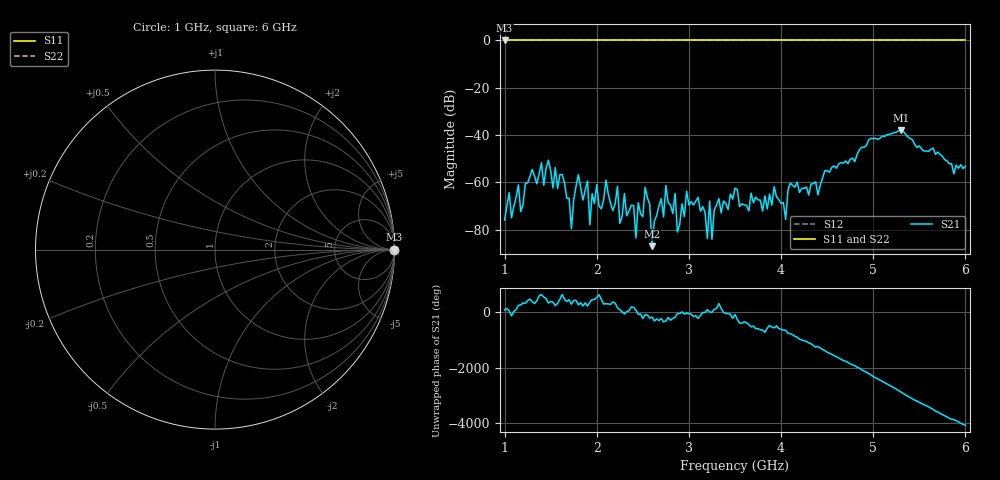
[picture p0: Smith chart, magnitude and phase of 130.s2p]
!Keysight Technologies N9926A: A.08.19
!Date: Sunday, 01 March 2026 13:41:56
!Timezone: (GMT-06:00) Central Time (US & Canada)
!Model: N9926A
!Serial: MY53102721
!GPS Latitude:
!GPS Longitude:
!GPS TimeStamp: 0001-01-01 00:00:00Z
!GPS Seconds Since Last Read: 0
!CHECKSUM:0867895835
!Correction: S11()S21(ON U)S12()S22()
!S2P File: Measurements:S11,S21,S12,S22:
# Hz S DB R 50
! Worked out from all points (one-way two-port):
!   201 points, 1 GHz to 6 GHz, reference 50 ohm
!   highest |S21| = -38.00 dB at 5.3 GHz (marker M1); lowest = -87.0 dB at 2.6 GHz (marker M2)
!   lowest |S11| = 0.0 dB at 1 GHz (marker M3)
!   |S11| at or under -10 dB: nowhere
!   |S22| runs from 0.0 to 0.0 dB; largest |S21 - S12| = 1
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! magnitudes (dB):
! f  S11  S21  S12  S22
! 1 GHz  0.0  -75.9  0.0  0.0
! 1.475 GHz  0.0  -50.6  0.0  0.0
! 1.725 GHz  0.0  -79.6  0.0  0.0
! 1.8 GHz  0.0  -56.7  0.0  0.0
! 1.85 GHz  0.0  -67.5  0.0  0.0
! 2.225 GHz  0.0  -61.7  0.0  0.0
! 2.25 GHz  0.0  -77.3  0.0  0.0
! 2.3 GHz  0.0  -64.7  0.0  0.0
! 2.425 GHz  0.0  -83.6  0.0  0.0
! 2.525 GHz  0.0  -62.1  0.0  0.0
! 2.6 GHz  0.0  -87.0  0.0  0.0
! 2.675 GHz  0.0  -70.0  0.0  0.0
! 3.2 GHz  0.0  -83.6  0.0  0.0
! 3.225 GHz  0.0  -67.9  0.0  0.0
! 3.25 GHz  0.0  -84.1  0.0  0.0
! 3.5 GHz  0.0  -62.4  0.0  0.0
! 4.05 GHz  0.0  -75.7  0.0  0.0
! 4.1 GHz  0.0  -60.3  0.0  0.0
! 4.35 GHz  0.0  -60.5  0.0  0.0
! 5.175 GHz  0.0  -39.7  0.0  0.0
! 5.3 GHz  0.0  -38.0  0.0  0.0
! 6 GHz  0.0  -53.2  0.0  0.0
